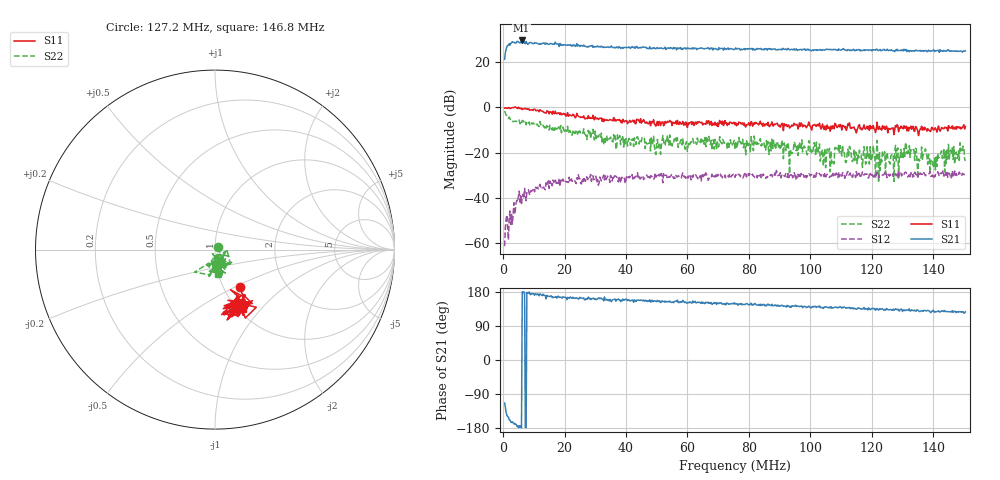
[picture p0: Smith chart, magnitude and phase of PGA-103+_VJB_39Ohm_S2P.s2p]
!Keysight Technologies N9926A: A.10.18
!Date: Saturday, 25 July 2020 16:56:03
!Timezone:
!Model: N9926A
!Serial: MY57271140
!GPS Latitude:
!GPS Longitude:
!GPS TimeStamp: 0001-01-01 00:00:00Z
!GPS Seconds Since Last Read: 0
!CHECKSUM:1425379525
!Correction: S11(ON U)S21(ON U)S12(ON U)S22(ON U)
!S2P File: Measurements:S11,S21,S12,S22:
# Hz S DB R 50
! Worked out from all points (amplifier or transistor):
!   601 points, 500 kHz to 150.5 MHz, reference 50 ohm
!   highest |S21| = 29.6 dB at 6 MHz (marker M1)
!   |S21| within 3 dB of that: 1.188 MHz to 29.24 MHz (28.05 MHz wide, 184 % of centre)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
!   unconditionally stable (mu >= 1): 105.8 MHz to 107.2 MHz; 124.8 MHz to 127.6 MHz; 136.3 MHz to 141.4 MHz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
!   at 25.5 MHz: K = 0.84, MSG = 30.5 dB, |S12| = -33.8 dB
!   at 75.5 MHz: K = 1.00, MAG = 27.9 dB, |S12| = -30.8 dB
!   at 150.5 MHz: K = 1.05, MAG = 26.3 dB, |S12| = -30.3 dB
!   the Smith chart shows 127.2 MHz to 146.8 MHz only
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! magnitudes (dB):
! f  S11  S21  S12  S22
! 500 kHz  -0.3  21.3  -61.2  -1.6
! 2.25 MHz  -0.5  27.5  -45.7  -4.8
! 6 MHz  -0.4  29.6  -42.4  -7.0
! 17 MHz  -1.6  28.9  -31.5  -8.3
! 25.5 MHz  -4.2  27.3  -33.8  -11.2
! 50.5 MHz  -8.0  26.0  -29.9  -17.8
! 75.5 MHz  -7.6  25.7  -30.8  -18.6
! 88.75 MHz  -7.3  25.4  -30.2  -18.6
! 93.75 MHz  -8.4  25.6  -29.7  -20.0
! 100.5 MHz  -10.0  25.1  -29.6  -20.4
! 107 MHz  -9.5  25.5  -30.2  -24.7
! 109 MHz  -8.4  25.1  -31.0  -18.7
! 111.8 MHz  -10.1  25.2  -30.0  -24.2
! 120.2 MHz  -9.1  25.6  -29.7  -22.3
! 122 MHz  -9.5  25.2  -29.2  -22.2
! 125.5 MHz  -9.2  25.1  -29.6  -23.6
! 131.5 MHz  -10.3  24.7  -29.7  -20.4
! 135.2 MHz  -12.4  25.0  -29.5  -22.7
! 137 MHz  -10.0  24.8  -28.8  -20.4
! 139.8 MHz  -8.9  25.1  -29.9  -22.9
! 149.5 MHz  -9.0  24.4  -29.1  -19.1
! 150.5 MHz  -8.4  25.0  -30.3  -23.6
